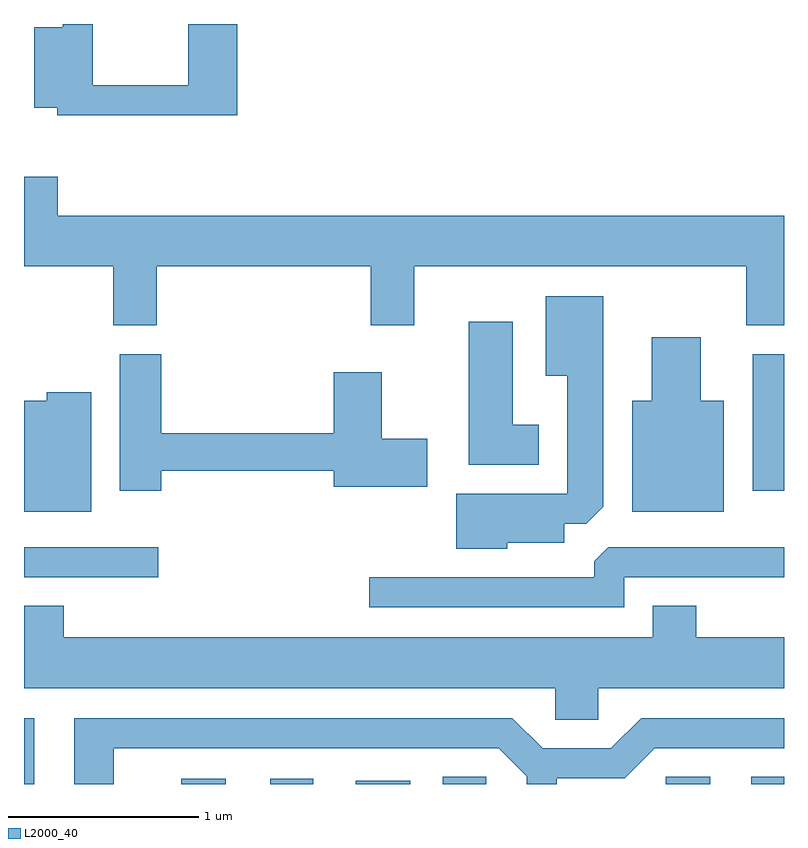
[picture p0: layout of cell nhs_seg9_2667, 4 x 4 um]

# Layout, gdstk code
import gdstk
lib = gdstk.Library(unit=1e-6, precision=1e-09)
def R(c, l, rs):  # rectangles x0, y0, x1, y1
    for r in rs: c.add(gdstk.rectangle(r[:2], r[2:], *l))
def P(c, l, *ps):  # polygons
    for p in ps: c.add(gdstk.Polygon(p, *l))
L2000_40 = (2000, 40)

nhs_seg9_2667 = lib.new_cell('nhs_seg9_2667')
R(nhs_seg9_2667, L2000_40, [(263.611,1982.432,263.664,1982.779), (264.438,1982.432,264.674,1982.459), (264.906,1982.432,265.134,1982.459), (265.358,1982.432,265.644,1982.449), (265.816,1982.432,266.044,1982.469), (266.988,1982.432,267.224,1982.469), (267.438,1982.432,267.611,1982.469), (263.611,1983.521,264.318,1983.679), (267.446,1983.976,267.611,1984.694)])
P(nhs_seg9_2667, L2000_40, [(264.734,1986.432),(264.476,1986.432),(264.476,1986.109),(263.974,1986.109),(263.974,1986.432),(263.816,1986.432),(263.816,1986.414),(263.666,1986.414),(263.666,1985.991),(263.786,1985.991),(263.786,1985.951),(264.734,1985.951)],
  [(264.309,1985.156),(265.436,1985.156),(265.436,1984.846),(265.664,1984.846),(265.664,1985.156),(267.411,1985.156),(267.411,1984.846),(267.611,1984.846),(267.611,1985.424),(263.789,1985.424),(263.789,1985.629),(263.611,1985.629),(263.611,1985.156),(264.081,1985.156),(264.081,1984.846),(264.309,1984.846)],
  [(266.154,1983.701),(266.454,1983.701),(266.454,1983.801),(266.569,1983.801),(266.659,1983.892),(266.659,1984.999),(266.356,1984.999),(266.356,1984.581),(266.471,1984.581),(266.471,1983.959),(265.886,1983.959),(265.886,1983.671),(266.154,1983.671)],
  [(266.319,1984.324),(266.184,1984.324),(266.184,1984.864),(265.951,1984.864),(265.951,1984.111),(266.319,1984.111)],
  [(267.294,1984.449),(267.174,1984.449),(267.174,1984.784),(266.916,1984.784),(266.916,1984.449),(266.811,1984.449),(266.811,1983.866),(267.294,1983.866)],
  [(264.334,1984.081),(265.241,1984.081),(265.241,1983.996),(265.734,1983.996),(265.734,1984.249),(265.494,1984.249),(265.494,1984.599),(265.241,1984.599),(265.241,1984.279),(264.334,1984.279),(264.334,1984.694),(264.116,1984.694),(264.116,1983.976),(264.334,1983.976)],
  [(263.964,1984.494),(263.731,1984.494),(263.731,1984.449),(263.611,1984.449),(263.611,1983.866),(263.964,1983.866)],
  [(266.769,1983.521),(267.611,1983.521),(267.611,1983.679),(266.687,1983.679),(266.611,1983.604),(266.611,1983.519),(265.428,1983.519),(265.428,1983.361),(266.769,1983.361)],
  [(266.634,1982.936),(267.611,1982.936),(267.611,1983.204),(267.149,1983.204),(267.149,1983.369),(266.921,1983.369),(266.921,1983.204),(263.819,1983.204),(263.819,1983.369),(263.611,1983.369),(263.611,1982.936),(266.406,1982.936),(266.406,1982.771),(266.634,1982.771)],
  [(264.084,1982.621),(266.109,1982.621),(266.256,1982.474),(266.256,1982.432),(266.414,1982.432),(266.414,1982.461),(266.772,1982.461),(266.932,1982.621),(267.611,1982.621),(267.611,1982.779),(266.859,1982.779),(266.699,1982.619),(266.342,1982.619),(266.182,1982.779),(263.876,1982.779),(263.876,1982.432),(264.084,1982.432)])

lib.write_gds('nhs_seg9_2667.gds')
